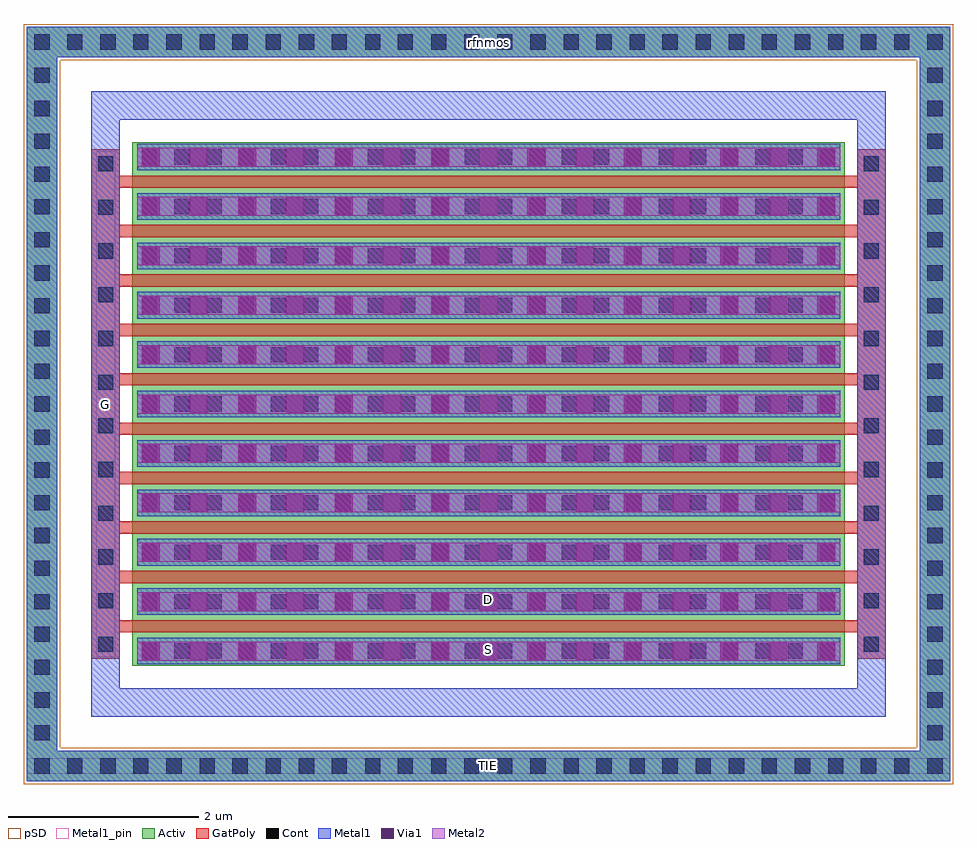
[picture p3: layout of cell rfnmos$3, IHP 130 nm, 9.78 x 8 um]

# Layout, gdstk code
import gdstk
lib = gdstk.Library(unit=1e-6, precision=5e-09)
def R(c, l, rs):  # rectangles x0, y0, x1, y1
    for r in rs: c.add(gdstk.rectangle(r[:2], r[2:], *l))
def A(c, l, x, y, w, h, nx, ny, dx, dy):  # array of equal rectangles
    R(c, l, [(x+i*dx, y+j*dy, x+i*dx+w, y+j*dy+h) for i in range(nx) for j in range(ny)])
def P(c, l, *ps):  # polygons
    for p in ps: c.add(gdstk.Polygon(p, *l))
Activ = (1, 0)
GatPoly = (5, 0)
Cont = (6, 0)
Metal1 = (8, 0)
Metal1_pin = (8, 2)
Metal2 = (10, 0)
pSD = (14, 0)
Via1 = (19, 0)

rfnmos_3 = lib.new_cell('rfnmos$3')
R(rfnmos_3, Activ, [(1.14,1.245,8.64,6.755)])
P(rfnmos_3, Activ, [(0.03,0.03),(0.03,7.65),(0.35,7.65),(0.35,0.35),(9.43,0.35),(9.43,7.65),(0.03,7.65),(0.03,7.97),(9.75,7.97),(9.75,0.03)])
A(rfnmos_3, GatPoly, 1.01, 1.595, 7.76, 0.13, 1, 10, 0, 0.52)
R(rfnmos_3, GatPoly, [(0.71,1.32,1.01,6.68), (8.77,1.32,9.07,6.68)])
A(rfnmos_3, Cont, 1.15, 0.11, 0.16, 0.16, 3, 2, 0.35, 7.62)
A(rfnmos_3, Cont, 2.195, 0.11, 0.16, 0.16, 3, 2, 0.35, 7.62)
A(rfnmos_3, Cont, 3.935, 0.11, 0.16, 0.16, 3, 2, 0.35, 7.62)
A(rfnmos_3, Cont, 4.98, 0.11, 0.16, 0.16, 3, 2, 0.35, 7.62)
A(rfnmos_3, Cont, 6.72, 0.11, 0.16, 0.16, 3, 2, 0.35, 7.62)
A(rfnmos_3, Cont, 7.765, 0.11, 0.16, 0.16, 3, 2, 0.35, 7.62)
A(rfnmos_3, Cont, 8.81, 0.11, 0.16, 0.16, 3, 2, 0.35, 7.62)
A(rfnmos_3, Cont, 0.11, 0.46, 0.16, 0.16, 1, 5, 0, 0.345)
A(rfnmos_3, Cont, 9.51, 0.46, 0.16, 0.16, 1, 5, 0, 0.345)
A(rfnmos_3, Cont, 1.24, 1.32, 0.16, 0.16, 22, 11, 0.34, 0.52)
A(rfnmos_3, Cont, 0.78, 1.39, 0.16, 0.16, 1, 12, 0, 0.46)
A(rfnmos_3, Cont, 8.84, 1.39, 0.16, 0.16, 1, 12, 0, 0.46)
A(rfnmos_3, Cont, 0.11, 2.19, 0.16, 0.16, 1, 5, 0, 0.345)
A(rfnmos_3, Cont, 9.51, 2.19, 0.16, 0.16, 1, 5, 0, 0.345)
A(rfnmos_3, Cont, 0.11, 3.92, 0.16, 0.16, 1, 5, 0, 0.345)
A(rfnmos_3, Cont, 9.51, 3.92, 0.16, 0.16, 1, 5, 0, 0.345)
A(rfnmos_3, Cont, 0.11, 5.65, 0.16, 0.16, 1, 5, 0, 0.345)
A(rfnmos_3, Cont, 9.51, 5.65, 0.16, 0.16, 1, 5, 0, 0.345)
R(rfnmos_3, Cont, [(0.11,0.11,0.27,0.27), (0.455,0.11,0.615,0.27), (0.805,0.11,0.965,0.27), (3.24,0.11,3.4,0.27), (3.59,0.11,3.75,0.27), (6.025,0.11,6.185,0.27), (6.375,0.11,6.535,0.27), (0.11,7.38,0.27,7.54), (9.51,7.38,9.67,7.54), (0.11,7.73,0.27,7.89), (0.455,7.73,0.615,7.89), (0.805,7.73,0.965,7.89), (3.24,7.73,3.4,7.89), (3.59,7.73,3.75,7.89), (6.025,7.73,6.185,7.89), (6.375,7.73,6.535,7.89)])
A(rfnmos_3, Metal1, 1.19, 1.26, 7.4, 0.28, 1, 11, 0, 0.52)
R(rfnmos_3, Metal1, [(0.03,0.03,9.75,0.35), (0.03,0.35,0.35,7.65), (9.43,0.35,9.75,7.65), (0.76,1.34,0.96,6.66), (8.82,1.34,9.02,6.66), (0.03,7.65,9.75,7.97)])
P(rfnmos_3, Metal1, [(0.71,0.71),(0.71,6.99),(1.01,6.99),(1.01,1.01),(8.77,1.01),(8.77,6.99),(0.71,6.99),(0.71,7.29),(9.07,7.29),(9.07,0.71)])
R(rfnmos_3, Metal1_pin, [(0.03,0.11,9.75,0.27), (0.03,0.11,9.75,0.27), (1.19,1.26,8.59,1.54), (1.19,1.26,8.59,1.54), (0.76,1.34,0.96,6.66), (0.76,1.34,0.96,6.66), (1.19,1.78,8.59,2.06), (1.19,1.78,8.59,2.06)])
A(rfnmos_3, Metal2, 1.19, 1.3, 7.4, 0.2, 1, 11, 0, 0.52)
P(rfnmos_3, pSD, [(0,0),(0,7.62),(0.38,7.62),(0.38,0.38),(9.4,0.38),(9.4,7.62),(0,7.62),(0,8),(9.78,8),(9.78,0)])
A(rfnmos_3, Via1, 1.24, 1.305, 0.19, 0.19, 1, 11, 0, 0.52)
A(rfnmos_3, Via1, 1.745, 1.305, 0.19, 0.19, 1, 11, 0, 0.52)
A(rfnmos_3, Via1, 2.255, 1.305, 0.19, 0.19, 1, 11, 0, 0.52)
A(rfnmos_3, Via1, 2.76, 1.305, 0.19, 0.19, 1, 11, 0, 0.52)
A(rfnmos_3, Via1, 3.27, 1.305, 0.19, 0.19, 1, 11, 0, 0.52)
A(rfnmos_3, Via1, 3.775, 1.305, 0.19, 0.19, 3, 11, 0.51, 0.52)
A(rfnmos_3, Via1, 5.3, 1.305, 0.19, 0.19, 1, 11, 0, 0.52)
A(rfnmos_3, Via1, 5.81, 1.305, 0.19, 0.19, 1, 11, 0, 0.52)
A(rfnmos_3, Via1, 6.315, 1.305, 0.19, 0.19, 1, 11, 0, 0.52)
A(rfnmos_3, Via1, 6.825, 1.305, 0.19, 0.19, 1, 11, 0, 0.52)
A(rfnmos_3, Via1, 7.33, 1.305, 0.19, 0.19, 3, 11, 0.51, 0.52)
rfnmos_3.add(gdstk.Label('S', (4.89,1.42), layer=63, texttype=0))
rfnmos_3.add(gdstk.Label('D', (4.89,1.94), layer=63, texttype=0))
rfnmos_3.add(gdstk.Label('G', (0.86,4), layer=63, texttype=0))
rfnmos_3.add(gdstk.Label('TIE', (4.89,0.19), layer=63, texttype=0))
rfnmos_3.add(gdstk.Label('rfnmos', (4.89,7.81), layer=63, texttype=0))

lib.write_gds('rfnmos_3.gds')
